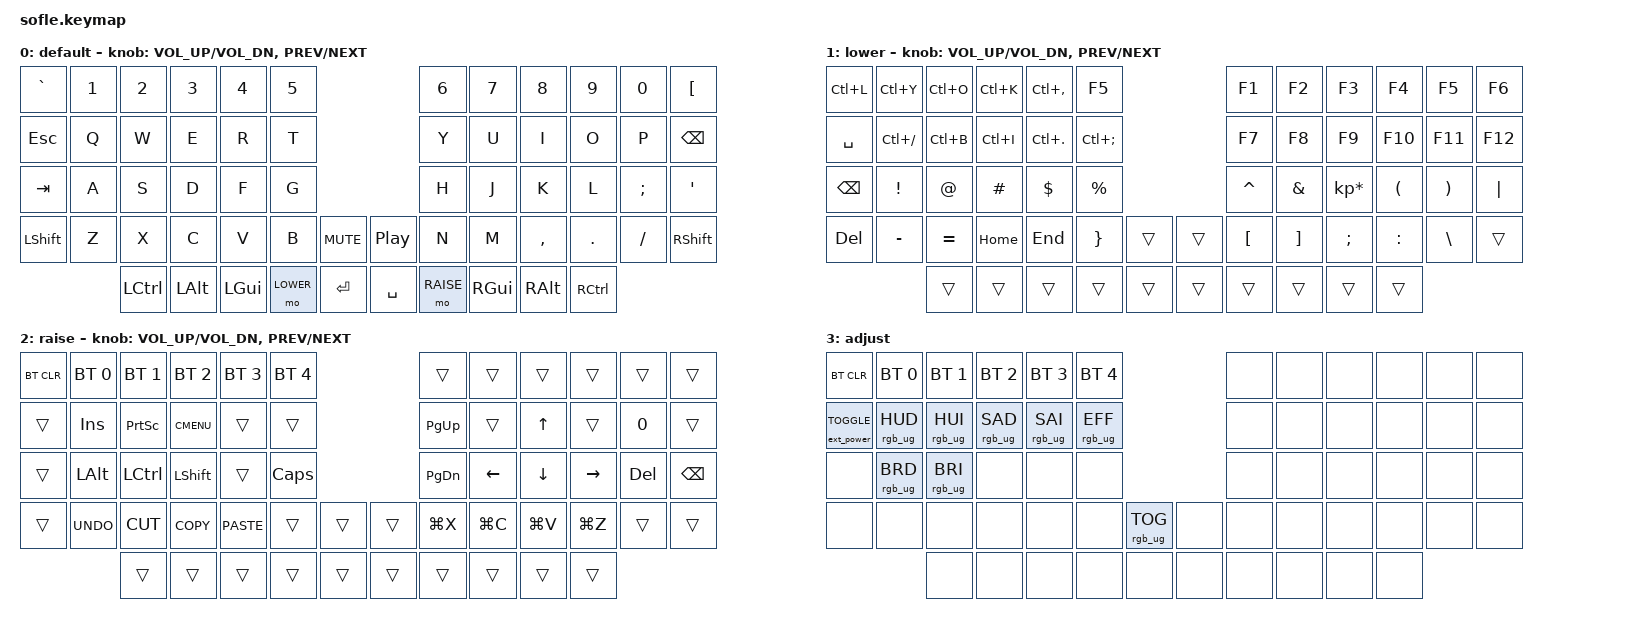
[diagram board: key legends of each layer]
/*
 * Copyright (c) 2020 The ZMK Contributors
 *
 * SPDX-License-Identifier: MIT
 *
 */

#include <behaviors.dtsi>
#include <dt-bindings/zmk/keys.h>
#include <dt-bindings/zmk/bt.h>
#include <dt-bindings/zmk/rgb.h>
#include <dt-bindings/zmk/ext_power.h>

#define BASE 0
#define LOWER 1
#define RAISE 2
#define ADJUST 3

/ {

   // Activate ADJUST layer by pressing raise and lower
    conditional_layers {
        compatible = "zmk,conditional-layers";
        adjust_layer {
            if-layers = <LOWER RAISE>;
            then-layer = <ADJUST>;
        };
    };

    keymap {
        compatible = "zmk,keymap";

        default_layer {
            display-name = "default";
// ------------------------------------------------------------------------------------------------------------
// |   `   |  1  |  2  |  3   |  4   |  5   |                   |  6   |  7    |  8    |  9   |   0   |       |
// |  ESC  |  Q  |  W  |  E   |  R   |  T   |                   |  Y   |  U    |  I    |  O   |   P   | BKSPC |
// |  TAB  |  A  |  S  |  D   |  F   |  G   |                   |  H   |  J    |  K    |  L   |   ;   |   '   |
// | SHIFT |  Z  |  X  |  C   |  V   |  B   |  MUTE  |  |       |  N   |  M    |  ,    |  .   |   /   | SHIFT |
//               | GUI | ALT  | CTRL | LOWER|  ENTER |  | SPACE | RAISE| CTRL  | ALT   | GUI  |
            bindings = <
     // ╭─────────────┬─────────────┬─────────────┬─────────────┬─────────────┬─────────────╮                                 ╭─────────────┬─────────────┬─────────────┬─────────────┬─────────────┬─────────────╮
     // │             │             │             │             │             │             │                                 │             │             │             │             │             │             │
            &kp GRAVE       &kp N1      &kp N2          &kp N3      &kp N4          &kp N5                                          &kp N6      &kp N7          &kp N8      &kp N9          &kp N0      &kp LBKT
     // │             │             │             │             │             │             │                                 │             │             │             │             │             │             │
     // ├─────────────┼─────────────┼─────────────┼─────────────┼─────────────┼─────────────┤                                 ├─────────────┼─────────────┼─────────────┼─────────────┼─────────────┼─────────────┤
     // │             │             │             │             │             │             │                                 │             │             │             │             │             │             │
            &kp ESC         &kp Q       &kp W           &kp E       &kp R           &kp T                                           &kp Y       &kp U           &kp I       &kp O           &kp P       &kp BSPC
     // │             │             │             │             │             │             │                                 │             │             │             │             │             │             │
     // ├─────────────┼─────────────┼─────────────┼─────────────┼─────────────┼─────────────┤                                 ├─────────────┼─────────────┼─────────────┼─────────────┼─────────────┼─────────────┤
     // │             │             │             │             │             │             │                                 │             │             │             │             │             │             │
            &kp TAB         &kp A       &kp S           &kp D       &kp F           &kp G                                           &kp H       &kp J           &kp K       &kp L       &kp SEMI        &kp SQT
     // │             │             │             │             │             │             │                                 │             │             │             │             │             │             │
     // ├─────────────┼─────────────┼─────────────┼─────────────┼─────────────┼─────────────┤─────────────╮     ╭─────────────┼─────────────┼─────────────┼─────────────┼─────────────┼─────────────┼─────────────┤
     // │             │             │             │             │             │             │             │     │             │             │             │             │             │             │             │
            &kp LSHFT       &kp Z       &kp X           &kp C       &kp V           &kp B       &kp C_MUTE          &kp C_PP        &kp N       &kp M       &kp COMMA       &kp DOT         &kp FSLH    &kp RSHFT
     // │             │             │             │             │             │             │             │     │             │             │             │             │             │             │             │
     // ╰─────────────┴─────────────┼─────────────┼─────────────┼─────────────┼─────────────┤─────────────┤     ├─────────────┼─────────────┼─────────────┼─────────────┼─────────────┼─────────────┴─────────────╯
     //                             │             │             │             │             │             │     │             │             │             │             │             │
                                        &kp LCTRL   &kp LALT        &kp LGUI    &mo LOWER       &kp RET             &kp SPACE   &mo RAISE       &kp RGUI    &kp RALT        &kp RCTRL
     //                             │             │             │             │             │             │     │             │             │             │             │             │
     //                             ╰─────────────┴─────────────┴─────────────┴─────────────┴─────────────╯     ╰─────────────┴─────────────┴─────────────┴─────────────┴─────────────╯

            >;

            sensor-bindings = <&inc_dec_kp C_VOL_UP C_VOL_DN &inc_dec_kp C_PREV C_NEXT>;
        };

        lower_layer {
            display-name = "lower";
// TODO: Some binds are waiting for shifted keycode support.
// ------------------------------------------------------------------------------------------------------------
// |       |  F1 |  F2 |  F3  |  F4  |  F5  |                   |  F6  |  F7   |  F8   |  F9  |  F10  |  F11  |
// |   `   |  1  |  2  |  3   |  4   |  5   |                   |  6   |  7    |  8    |  9   |   0   |  F12  |
// |       |  !  |  @  |  #   |  $   |  %   |                   |  ^   |  &    |  *    |  (   |   )   |   |   |
// |       |  =  |  -  |  +   |  {   |  }   |        |  |       |  [   |  ]    |  ;    |  :   |   \   |       |
//               |     |      |      |      |        |  |       |      |       |       |      |
            bindings = <

     // ╭─────────────┬─────────────┬─────────────┬─────────────┬─────────────┬─────────────╮                                 ╭─────────────┬─────────────┬─────────────┬─────────────┬─────────────┬─────────────╮
     // │             │             │             │             │             │             │                                 │             │             │             │             │             │             │
            &kp LC(L)   &kp LC(Y)      &kp LC(O)    &kp LC(K)   &kp LC(COMMA)   &kp F5                                          &kp F1      &kp F2          &kp F3      &kp F4          &kp F5      &kp F6
     // │             │             │             │             │             │             │                                 │             │             │             │             │             │             │
     // ├─────────────┼─────────────┼─────────────┼─────────────┼─────────────┼─────────────┤                                 ├─────────────┼─────────────┼─────────────┼─────────────┼─────────────┼─────────────┤
     // │             │             │             │             │             │             │                                 │             │             │             │             │             │             │
            &kp SPACE   &kp LC(FSLH)    &kp LC(B)   &kp LC(I)     &kp LC(DOT)   &kp LC(SEMI)                                       &kp F7       &kp F8          &kp F9      &kp F10         &kp F11      &kp F12
     // │             │             │             │             │             │             │                                 │             │             │             │             │             │             │
     // ├─────────────┼─────────────┼─────────────┼─────────────┼─────────────┼─────────────┤                                 ├─────────────┼─────────────┼─────────────┼─────────────┼─────────────┼─────────────┤
     // │             │             │             │             │             │             │                                 │             │             │             │             │             │             │
            &kp BSPC    &kp EXCL        &kp AT      &kp HASH        &kp DLLR    &kp PRCNT                                       &kp CARET       &kp AMPS    &kp KP_MULTIPLY &kp LPAR    &kp RPAR        &kp PIPE
     // │             │             │             │             │             │             │                                 │             │             │             │             │             │             │
     // ├─────────────┼─────────────┼─────────────┼─────────────┼─────────────┼─────────────┤─────────────╮     ╭─────────────┼─────────────┼─────────────┼─────────────┼─────────────┼─────────────┼─────────────┤
     // │             │             │             │             │             │             │             │     │             │             │             │             │             │             │             │
            &kp DEL      &kp MINUS       &kp EQUAL   &kp HOME        &kp END    &kp RBRC        &trans              &trans      &kp LBKT        &kp RBKT    &kp SEMI        &kp COLON   &kp BSLH        &trans
     // │             │             │             │             │             │             │             │     │             │             │             │             │             │             │             │
     // ╰─────────────┴─────────────┼─────────────┼─────────────┼─────────────┼─────────────┤─────────────┤     ├─────────────┼─────────────┼─────────────┼─────────────┼─────────────┼─────────────┴─────────────╯
     //                             │             │             │             │             │             │     │             │             │             │             │             │
                                        &trans          &trans      &trans          &trans      &trans              &trans          &trans      &trans          &trans      &trans
     //                             │             │             │             │             │             │     │             │             │             │             │             │
     //                             ╰─────────────┴─────────────┴─────────────┴─────────────┴─────────────╯     ╰─────────────┴─────────────┴─────────────┴─────────────┴─────────────╯


            >;

            sensor-bindings = <&inc_dec_kp C_VOL_UP C_VOL_DN &inc_dec_kp C_PREV C_NEXT>;
        };

        raise_layer {
            display-name = "raise";
// ------------------------------------------------------------------------------------------------------------
// | BTCLR | BT1  | BT2  |  BT3  |  BT4  |  BT5 |                |      |      |       |      |       |       |
// |       | INS  | PSCR | GUI   |       |      |                | PGUP |      |   ^   |      |       |       |
// |       | ALT  | CTRL | SHIFT |       | CAPS |                | PGDN |   <- |   v   |  ->  |  DEL  | BKSPC |
// |       | UNDO | CUT  | COPY  | PASTE |      |      |  |      |      |      |       |      |       |       |
//                |      |       |       |      |      |  |      |      |      |       |      |
            bindings = <

     // ╭─────────────┬─────────────┬─────────────┬─────────────┬─────────────┬─────────────╮                                 ╭─────────────┬─────────────┬─────────────┬─────────────┬─────────────┬─────────────╮
     // │             │             │             │             │             │             │                                 │             │             │             │             │             │             │
        &bt BT_CLR      &bt BT_SEL 0  &bt BT_SEL 1  &bt BT_SEL 2  &bt BT_SEL 3  &bt BT_SEL 4                                        &trans      &trans          &trans      &trans          &trans      &trans
     // │             │             │             │             │             │             │                                 │             │             │             │             │             │             │
     // ├─────────────┼─────────────┼─────────────┼─────────────┼─────────────┼─────────────┤                                 ├─────────────┼─────────────┼─────────────┼─────────────┼─────────────┼─────────────┤
     // │             │             │             │             │             │             │                                 │             │             │             │             │             │             │
            &trans      &kp INS         &kp PSCRN   &kp K_CMENU     &trans          &trans                                      &kp PG_UP       &trans          &kp UP      &trans          &kp N0      &trans
     // │             │             │             │             │             │             │                                 │             │             │             │             │             │             │
     // ├─────────────┼─────────────┼─────────────┼─────────────┼─────────────┼─────────────┤                                 ├─────────────┼─────────────┼─────────────┼─────────────┼─────────────┼─────────────┤
     // │             │             │             │             │             │             │                                 │             │             │             │             │             │             │
            &trans      &kp LALT        &kp LCTRL   &kp LSHFT       &trans      &kp CLCK                                        &kp PG_DN       &kp LEFT    &kp DOWN        &kp RIGHT       &kp DEL     &kp BSPC
     // │             │             │             │             │             │             │                                 │             │             │             │             │             │             │
     // ├─────────────┼─────────────┼─────────────┼─────────────┼─────────────┼─────────────┤─────────────╮     ╭─────────────┼─────────────┼─────────────┼─────────────┼─────────────┼─────────────┼─────────────┤
     // │             │             │             │             │             │             │             │     │             │             │             │             │             │             │             │
            &trans      &kp K_UNDO      &kp K_CUT   &kp K_COPY  &kp K_PASTE         &trans      &trans              &trans      &kp LG(X)       &kp LG(C)   &kp LG(V)       &kp LG(Z)       &trans      &trans
     // │             │             │             │             │             │             │             │     │             │             │             │             │             │             │             │
     // ╰─────────────┴─────────────┼─────────────┼─────────────┼─────────────┼─────────────┤─────────────┤     ├─────────────┼─────────────┼─────────────┼─────────────┼─────────────┼─────────────┴─────────────╯
     //                             │             │             │             │             │             │     │             │             │             │             │             │
                                        &trans          &trans      &trans          &trans      &trans              &trans          &trans      &trans          &trans      &trans
     //                             │             │             │             │             │             │     │             │             │             │             │             │
     //                             ╰─────────────┴─────────────┴─────────────┴─────────────┴─────────────╯     ╰─────────────┴─────────────┴─────────────┴─────────────┴─────────────╯



            >;

            sensor-bindings = <&inc_dec_kp C_VOL_UP C_VOL_DN &inc_dec_kp C_PREV C_NEXT>;
        };

        adjust_layer {
// ----------------------------------------------------------------------------------------------------------------------------
// | BTCLR  |  BT1    |  BT2    |   BT3   |   BT4   |   BT5   |                  |      |      |       |      |       |       |
// | EXTPWR | RGB_HUD | RGB_HUI | RGB_SAD | RGB_SAI | RGB_EFF |                  |      |      |       |      |       |       |
// |        | RGB_BRD | RGB_BRI |         |         |         |                  |      |      |       |      |       |       |
// |        |         |         |         |         |         | RGB_TOG | |      |      |      |       |      |       |       |
//                    |         |         |         |         |         | |      |      |      |       |      |
            display-name = "adjust";
            bindings = <

     // ╭─────────────┬─────────────┬─────────────┬─────────────┬─────────────┬─────────────╮                                 ╭─────────────┬─────────────┬─────────────┬─────────────┬─────────────┬─────────────╮
     // │             │             │             │             │             │             │                                 │             │             │             │             │             │             │
            &bt BT_CLR  &bt BT_SEL 0  &bt BT_SEL 1  &bt BT_SEL 2  &bt BT_SEL 3  &bt BT_SEL 4                                        &none       &none           &none       &none           &none       &none
     // │             │             │             │             │             │             │                                 │             │             │             │             │             │             │
     // ├─────────────┼─────────────┼─────────────┼─────────────┼─────────────┼─────────────┤                                 ├─────────────┼─────────────┼─────────────┼─────────────┼─────────────┼─────────────┤
     // │             │             │             │             │             │             │                                 │             │             │             │             │             │             │
&ext_power EXT_POWER_TOGGLE_CMD &rgb_ug RGB_HUD &rgb_ug RGB_HUI &rgb_ug RGB_SAD &rgb_ug RGB_SAI &rgb_ug RGB_EFF                     &none       &none           &none       &none           &none       &none
     // │             │             │             │             │             │             │                                 │             │             │             │             │             │             │
     // ├─────────────┼─────────────┼─────────────┼─────────────┼─────────────┼─────────────┤                                 ├─────────────┼─────────────┼─────────────┼─────────────┼─────────────┼─────────────┤
     // │             │             │             │             │             │             │                                 │             │             │             │             │             │             │
            &none   &rgb_ug RGB_BRD &rgb_ug RGB_BRI     &none       &none           &none                                           &none       &none           &none       &none           &none       &none
     // │             │             │             │             │             │             │                                 │             │             │             │             │             │             │
     // ├─────────────┼─────────────┼─────────────┼─────────────┼─────────────┼─────────────┤─────────────╮     ╭─────────────┼─────────────┼─────────────┼─────────────┼─────────────┼─────────────┼─────────────┤
     // │             │             │             │             │             │             │             │     │             │             │             │             │             │             │             │
            &none           &none       &none           &none       &none           &none   &rgb_ug RGB_TOG         &none           &none       &none           &none       &none           &none       &none
     // │             │             │             │             │             │             │             │     │             │             │             │             │             │             │             │
     // ╰─────────────┴─────────────┼─────────────┼─────────────┼─────────────┼─────────────┤─────────────┤     ├─────────────┼─────────────┼─────────────┼─────────────┼─────────────┼─────────────┴─────────────╯
     //                             │             │             │             │             │             │     │             │             │             │             │             │
                                        &none       &none           &none       &none           &none               &none           &none       &none           &none       &none
     //                             │             │             │             │             │             │     │             │             │             │             │             │
     //                             ╰─────────────┴─────────────┴─────────────┴─────────────┴─────────────╯     ╰─────────────┴─────────────┴─────────────┴─────────────┴─────────────╯

            >;
        };

    };
};
